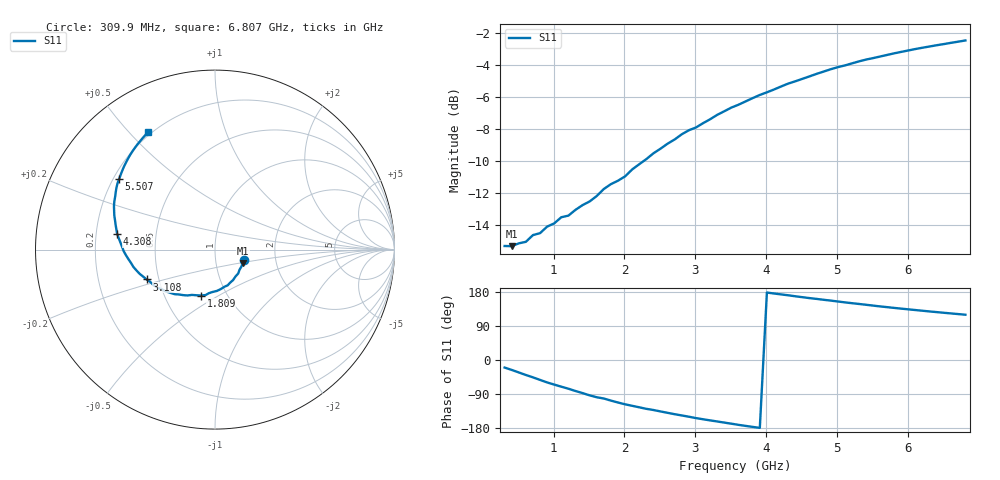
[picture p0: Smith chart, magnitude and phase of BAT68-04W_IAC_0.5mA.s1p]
! Infineon Technologies  Discrete & RF Semiconductors
! BAT68-04W
! IAC = 0.5 mA
! One-Port S-Parameters
# Hz  S  MA  R  50
!f  S11
!Hz  Mag  Ang
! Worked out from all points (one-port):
!   66 points, 309.9 MHz to 6.807 GHz, reference 50 ohm
!   lowest |S11| = -15.3 dB at 409.8 MHz (marker M1), VSWR 1.41, Z = 67.2 - j10.5 ohm
!   |S11| at or under -10 dB: start of sweep to 2.269 GHz
!   S11 on the Smith chart (normalised r, x): 309.9 MHz: 1.37, -0.17; 1.809 GHz: 0.75, -0.42; 3.108 GHz: 0.43, -0.17; 4.308 GHz: 0.29, +0.07; 5.507 GHz: 0.22, +0.31; 6.807 GHz: 0.19, +0.57
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3.0985e8  0.1716 -20.0
4.098e8  0.1714 -26.2
6.097e8  0.1769 -39.6
7.0965e8  0.1856 -45.8
8.096e8  0.1883 -52.5
9.0955e8  0.1973 -59.2
1.10945e9  0.2111 -70.4
1.2094e9  0.2136 -75.8
1.4093e9  0.2304 -87.3
1.50925e9  0.2366 -93.3
1.70915e9  0.2587 -101.7
1.8091e9  0.2679 -107.2
2.009e9  0.2833 -117.0
2.10895e9  0.2979 -120.9
2.4088e9  0.3346 -132.0
2.8086e9  0.3837 -146.3
3.10845e9  0.4156 -156.4
3.30835e9  0.4413 -162.3
3.6082e9  0.4746 -171.2
3.90805e9  0.5091 -179.1
4.30785e9  0.5525 170.8
4.4078e9  0.5617 168.2
4.90755e9  0.6126 156.8
5.2074e9  0.6391 149.9
5.50725e9  0.664 143.5
6.007e9  0.7018 133.6
6.30685e9  0.7221 128.0
6.8066e9  0.7538 119.5
